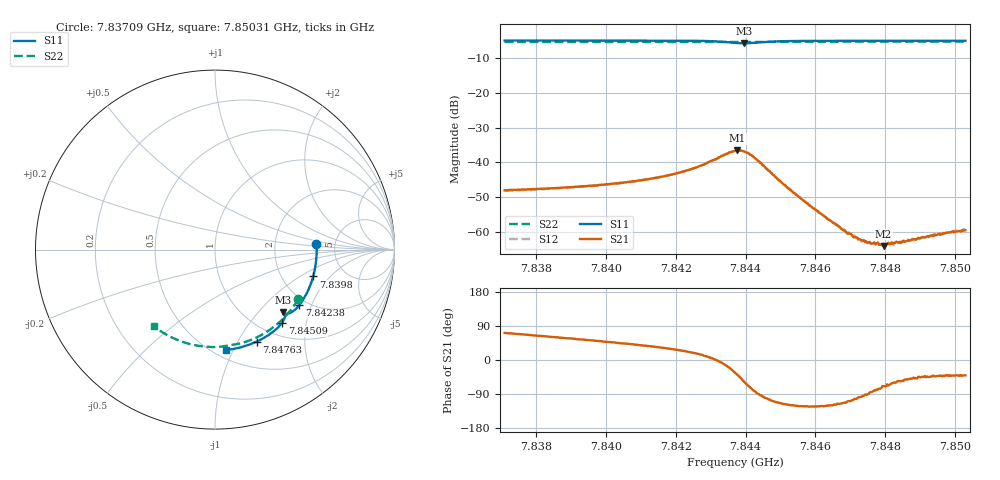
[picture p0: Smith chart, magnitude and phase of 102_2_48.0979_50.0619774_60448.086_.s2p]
#  HZ  S  RI  R  50.00
! Rohde & Schwarz Vector Network Analyzer
! Rohde-Schwarz,ZNB20-2Port,1311601062101988,3.16
! Created: UTC 12/23/2023, 3:44:51 AM
! freq[Hz]  re:S11  im:S11  re:S21  im:S21  re:S12  im:S12  re:S22  im:S22
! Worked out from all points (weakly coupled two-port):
!   401 points, 7.83709 GHz to 7.85031 GHz, reference 50 ohm
!   highest |S21| = -36.56 dB at 7.84376 GHz (marker M1); lowest = -64.1 dB at 7.84796 GHz (marker M2)
!   lowest |S11| = -5.7 dB at 7.84396 GHz (marker M3), VSWR 3.13, Z = 72.9 - j69 ohm
!   |S11| at or under -10 dB: nowhere
!   |S22| runs from -5.4 to -5.3 dB; largest |S21 - S12| = 0.00029
!   S11 on the Smith chart (normalised r, x): 7.83709 GHz: 3.58, +0.31; 7.8398 GHz: 2.98, -1.31; 7.84238 GHz: 1.81, -1.64; 7.84509 GHz: 1.24, -1.46; 7.84763 GHz: 0.80, -1.20; 7.85031 GHz: 0.57, -0.94
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7.837089e9  0.5655 0.0295  0.00125 0.00376  0.00129 0.00369  0.464 -0.2755
7.839303e9  0.5547 -0.1173  0.00264 0.00364  0.00261 0.00359  0.3673 -0.3965
7.839799e9  0.5469 -0.1496  0.00304 0.00361  0.003 0.00358  0.3413 -0.4193
7.840823e9  0.5241 -0.2152  0.00403 0.00348  0.00402 0.00347  0.283 -0.4612
7.841517e9  0.5032 -0.2584  0.00506 0.00336  0.00507 0.00337  0.2404 -0.4851
7.842376e9  0.4692 -0.3102  0.00725 0.0028  0.00722 0.00282  0.1848 -0.5089
7.843202e9  0.4204 -0.3521  0.0114 -0.0003  0.0116 -0.000416  0.129 -0.5248
7.843532e9  0.3955 -0.3577  0.013 -0.00483  0.0129 -0.00472  0.1067 -0.529
7.843697e9  0.3855 -0.3548  0.0122 -0.00801  0.0122 -0.00794  0.0957 -0.5306
7.843763e9  0.383 -0.3528  0.0116 -0.00933  0.0114 -0.00919  0.0915 -0.5315
7.843962e9  0.3816 -0.3473  0.00756 -0.0121  0.00781 -0.012  0.0791 -0.5332
7.844259e9  0.3891 -0.3531  0.00159 -0.0115  0.00157 -0.0116  0.0599 -0.5368
7.845085e9  0.3737 -0.4074  -0.00211 -0.00435  -0.00213 -0.00442  0.00226 -0.5427
7.845911e9  0.3327 -0.4504  -0.00122 -0.00188  -0.00122 -0.00191  -0.0559 -0.5407
7.846869e9  0.2784 -0.4884  -0.000392 -0.000922  -0.0004 -0.000944  -0.1225 -0.5302
7.847299e9  0.2529 -0.5027  -0.000106 -0.000754  -0.000106 -0.000804  -0.1519 -0.523
7.847629e9  0.2328 -0.5125  7.17e-05 -0.000678  8.05e-05 -0.000662  -0.1741 -0.5162
7.84796e9  0.2125 -0.5214  0.000227 -0.000584  0.0002 -0.000639  -0.1959 -0.5085
7.848125e9  0.2022 -0.5254  0.000276 -0.0006  0.000285 -0.000617  -0.2068 -0.5044
7.848323e9  0.1896 -0.5301  0.000375 -0.000617  0.000348 -0.000619  -0.2196 -0.4991
7.849479e9  0.1154 -0.5509  0.000661 -0.000604  0.000658 -0.00062  -0.2914 -0.4614
7.850305e9  0.061 -0.5591  0.000799 -0.00068  0.000787 -0.000683  -0.339 -0.4284
